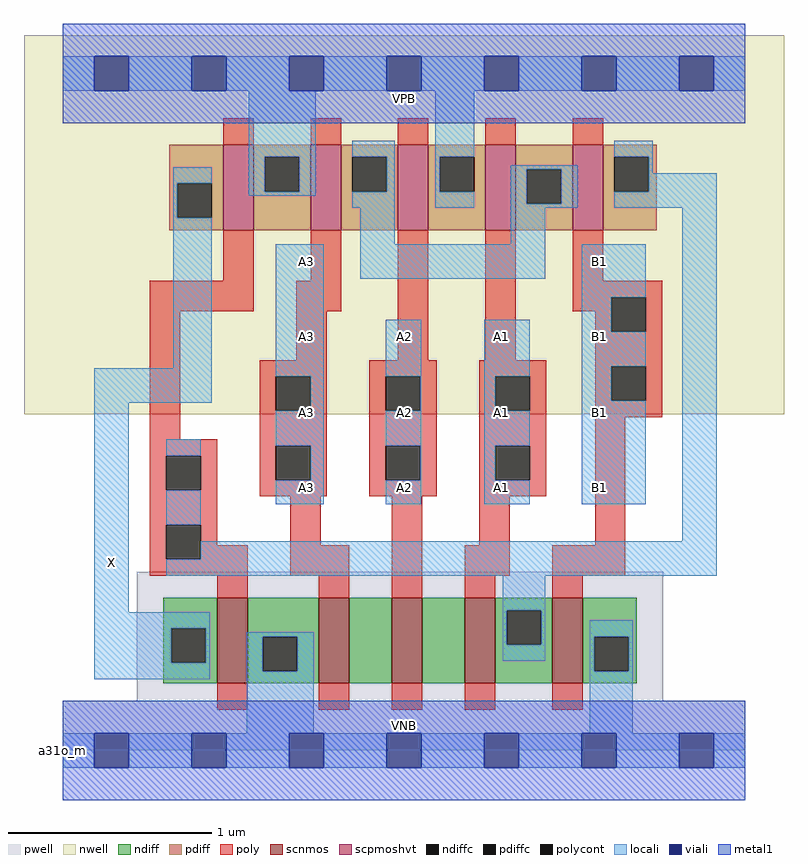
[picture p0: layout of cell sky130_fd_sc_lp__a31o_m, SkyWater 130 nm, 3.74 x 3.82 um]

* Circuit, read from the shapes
.subckt sky130_fd_sc_lp__a31o_m A1 A2 A3 B1 VGND VNB VPB VPWR X
XM1 VGND n1 X VNB sky130_fd_pr__nfet_01v8 w=0.42 l=0.15
XM2 n2 A3 VGND VNB sky130_fd_pr__nfet_01v8 w=0.42 l=0.15
XM3 n3 A2 n2 VNB sky130_fd_pr__nfet_01v8 w=0.42 l=0.15
XM4 n1 A1 n3 VNB sky130_fd_pr__nfet_01v8 w=0.42 l=0.15
XM5 VGND B1 n1 VNB sky130_fd_pr__nfet_01v8 w=0.42 l=0.15
XM6 VPWR n1 X VPB sky130_fd_pr__pfet_01v8_hvt w=0.42 l=0.15
XM7 n4 A3 VPWR VPB sky130_fd_pr__pfet_01v8_hvt w=0.42 l=0.15
XM8 VPWR A2 n4 VPB sky130_fd_pr__pfet_01v8_hvt w=0.42 l=0.15
XM9 n4 A1 VPWR VPB sky130_fd_pr__pfet_01v8_hvt w=0.42 l=0.15
XM10 n1 B1 n4 VPB sky130_fd_pr__pfet_01v8_hvt w=0.42 l=0.15
.ends

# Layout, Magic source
magic
tech sky130A
magscale 1 2
<< nwell >>
rect -38 331 710 704
<< pwell >>
rect 73 49 591 176
rect 0 0 672 49
<< scnmos >>
rect 152 66 182 150
rect 252 66 282 150
rect 324 66 354 150
rect 396 66 426 150
rect 482 66 512 150
<< scpmoshvt >>
rect 158 512 188 596
rect 244 512 274 596
rect 330 512 360 596
rect 416 512 446 596
rect 502 512 532 596
<< ndiff >>
rect 99 120 152 150
rect 99 86 107 120
rect 141 86 152 120
rect 99 66 152 86
rect 182 112 252 150
rect 182 78 197 112
rect 231 78 252 112
rect 182 66 252 78
rect 282 66 324 150
rect 354 66 396 150
rect 426 138 482 150
rect 426 104 437 138
rect 471 104 482 138
rect 426 66 482 104
rect 512 112 565 150
rect 512 78 523 112
rect 557 78 565 112
rect 512 66 565 78
<< pdiff >>
rect 105 558 158 596
rect 105 524 113 558
rect 147 524 158 558
rect 105 512 158 524
rect 188 584 244 596
rect 188 550 199 584
rect 233 550 244 584
rect 188 512 244 550
rect 274 584 330 596
rect 274 550 285 584
rect 319 550 330 584
rect 274 512 330 550
rect 360 584 416 596
rect 360 550 371 584
rect 405 550 416 584
rect 360 512 416 550
rect 446 572 502 596
rect 446 538 457 572
rect 491 538 502 572
rect 446 512 502 538
rect 532 584 585 596
rect 532 550 543 584
rect 577 550 585 584
rect 532 512 585 550
<< ndiffc >>
rect 107 86 141 120
rect 197 78 231 112
rect 437 104 471 138
rect 523 78 557 112
<< pdiffc >>
rect 113 524 147 558
rect 199 550 233 584
rect 285 550 319 584
rect 371 550 405 584
rect 457 538 491 572
rect 543 550 577 584
<< poly >>
rect 158 596 188 622
rect 244 596 274 622
rect 330 596 360 622
rect 416 596 446 622
rect 502 596 532 622
rect 158 462 188 512
rect 244 462 274 512
rect 86 432 188 462
rect 230 432 274 462
rect 86 306 116 432
rect 230 384 260 432
rect 330 384 360 512
rect 416 384 446 512
rect 502 462 532 512
rect 502 446 590 462
rect 502 432 540 446
rect 524 412 540 432
rect 574 412 590 446
rect 194 368 260 384
rect 194 334 210 368
rect 244 334 260 368
rect 86 290 152 306
rect 86 256 102 290
rect 136 256 152 290
rect 86 222 152 256
rect 194 300 260 334
rect 194 266 210 300
rect 244 266 260 300
rect 194 250 260 266
rect 302 368 368 384
rect 302 334 318 368
rect 352 334 368 368
rect 302 300 368 334
rect 302 266 318 300
rect 352 266 368 300
rect 302 250 368 266
rect 410 368 476 384
rect 410 334 426 368
rect 460 334 476 368
rect 410 300 476 334
rect 410 266 426 300
rect 460 266 476 300
rect 410 250 476 266
rect 524 378 590 412
rect 524 344 540 378
rect 574 344 590 378
rect 524 328 590 344
rect 86 188 102 222
rect 136 202 152 222
rect 224 202 254 250
rect 136 188 182 202
rect 86 172 182 188
rect 224 172 282 202
rect 152 150 182 172
rect 252 150 282 172
rect 324 150 354 250
rect 410 202 440 250
rect 524 202 554 328
rect 396 172 440 202
rect 482 172 554 202
rect 396 150 426 172
rect 482 150 512 172
rect 152 40 182 66
rect 252 40 282 66
rect 324 40 354 66
rect 396 40 426 66
rect 482 40 512 66
<< polycont >>
rect 540 412 574 446
rect 210 334 244 368
rect 102 256 136 290
rect 210 266 244 300
rect 318 334 352 368
rect 318 266 352 300
rect 426 334 460 368
rect 426 266 460 300
rect 540 344 574 378
rect 102 188 136 222
<< locali >>
rect 0 649 31 683
rect 65 649 127 683
rect 161 649 223 683
rect 257 649 319 683
rect 353 649 415 683
rect 449 649 511 683
rect 545 649 607 683
rect 641 649 672 683
rect 183 584 249 649
rect 109 558 147 574
rect 109 524 113 558
rect 183 550 199 584
rect 233 550 249 584
rect 183 546 249 550
rect 285 584 327 600
rect 319 550 327 584
rect 285 534 327 550
rect 367 584 405 649
rect 367 550 371 584
rect 543 584 581 600
rect 367 534 405 550
rect 441 572 507 576
rect 441 538 457 572
rect 491 538 507 572
rect 441 534 507 538
rect 577 568 581 584
rect 577 550 644 568
rect 543 534 644 550
rect 109 376 147 524
rect 293 498 327 534
rect 441 498 475 534
rect 31 342 147 376
rect 210 368 257 498
rect 293 464 475 498
rect 511 446 574 498
rect 31 136 65 342
rect 244 334 257 368
rect 102 290 136 306
rect 102 222 136 256
rect 210 300 257 334
rect 244 266 257 300
rect 210 242 257 266
rect 318 368 353 424
rect 352 334 353 368
rect 318 300 353 334
rect 352 266 353 300
rect 318 242 353 266
rect 415 368 460 424
rect 415 334 426 368
rect 415 300 460 334
rect 415 266 426 300
rect 415 242 460 266
rect 511 412 540 446
rect 511 378 574 412
rect 511 344 540 378
rect 511 242 574 344
rect 610 206 644 534
rect 136 188 644 206
rect 102 172 644 188
rect 433 138 475 172
rect 31 120 145 136
rect 31 86 107 120
rect 141 86 145 120
rect 31 70 145 86
rect 181 112 247 116
rect 181 78 197 112
rect 231 78 247 112
rect 433 104 437 138
rect 471 104 475 138
rect 433 88 475 104
rect 519 112 561 128
rect 181 17 247 78
rect 519 78 523 112
rect 557 78 561 112
rect 519 17 561 78
rect 0 -17 31 17
rect 65 -17 127 17
rect 161 -17 223 17
rect 257 -17 319 17
rect 353 -17 415 17
rect 449 -17 511 17
rect 545 -17 607 17
rect 641 -17 672 17
<< viali >>
rect 31 649 65 683
rect 127 649 161 683
rect 223 649 257 683
rect 319 649 353 683
rect 415 649 449 683
rect 511 649 545 683
rect 607 649 641 683
rect 31 -17 65 17
rect 127 -17 161 17
rect 223 -17 257 17
rect 319 -17 353 17
rect 415 -17 449 17
rect 511 -17 545 17
rect 607 -17 641 17
<< metal1 >>
rect 0 683 672 715
rect 0 649 31 683
rect 65 649 127 683
rect 161 649 223 683
rect 257 649 319 683
rect 353 649 415 683
rect 449 649 511 683
rect 545 649 607 683
rect 641 649 672 683
rect 0 617 672 649
rect 0 17 672 49
rect 0 -17 31 17
rect 65 -17 127 17
rect 161 -17 223 17
rect 257 -17 319 17
rect 353 -17 415 17
rect 449 -17 511 17
rect 545 -17 607 17
rect 641 -17 672 17
rect 0 -49 672 -17
<< labels >>
flabel pwell s 0 0 672 49 0 FreeSans 200 0 0 0 VNB
port 6 nsew ground bidirectional
flabel nwell s 0 617 672 666 0 FreeSans 200 0 0 0 VPB
port 7 nsew power bidirectional
rlabel comment s 0 0 0 0 4 a31o_m
flabel metal1 s 0 617 672 666 0 FreeSans 340 0 0 0 VPWR
port 8 nsew power bidirectional
flabel metal1 s 0 0 672 49 0 FreeSans 340 0 0 0 VGND
port 5 nsew ground bidirectional
flabel locali s 415 242 449 276 0 FreeSans 340 0 0 0 A1
port 1 nsew signal input
flabel locali s 415 316 449 350 0 FreeSans 340 0 0 0 A1
port 1 nsew signal input
flabel locali s 415 390 449 424 0 FreeSans 340 0 0 0 A1
port 1 nsew signal input
flabel locali s 319 242 353 276 0 FreeSans 340 0 0 0 A2
port 2 nsew signal input
flabel locali s 319 316 353 350 0 FreeSans 340 0 0 0 A2
port 2 nsew signal input
flabel locali s 319 390 353 424 0 FreeSans 340 0 0 0 A2
port 2 nsew signal input
flabel locali s 223 242 257 276 0 FreeSans 340 0 0 0 A3
port 3 nsew signal input
flabel locali s 223 316 257 350 0 FreeSans 340 0 0 0 A3
port 3 nsew signal input
flabel locali s 223 390 257 424 0 FreeSans 340 0 0 0 A3
port 3 nsew signal input
flabel locali s 223 464 257 498 0 FreeSans 340 0 0 0 A3
port 3 nsew signal input
flabel locali s 511 242 545 276 0 FreeSans 340 0 0 0 B1
port 4 nsew signal input
flabel locali s 511 316 545 350 0 FreeSans 340 0 0 0 B1
port 4 nsew signal input
flabel locali s 511 390 545 424 0 FreeSans 340 0 0 0 B1
port 4 nsew signal input
flabel locali s 511 464 545 498 0 FreeSans 340 0 0 0 B1
port 4 nsew signal input
flabel locali s 31 168 65 202 0 FreeSans 340 0 0 0 X
port 9 nsew signal output
<< properties >>
string LEFsite unit
string LEFclass CORE
string FIXED_BBOX 0 0 672 666
string GDS_FILE $PDKPATH/libs.ref/sky130_fd_sc_lp/gds/sky130_fd_sc_lp.gds
string LEFsymmetry X Y R90
string GDS_END 2653892
string GDS_START 2646742
<< end >>
